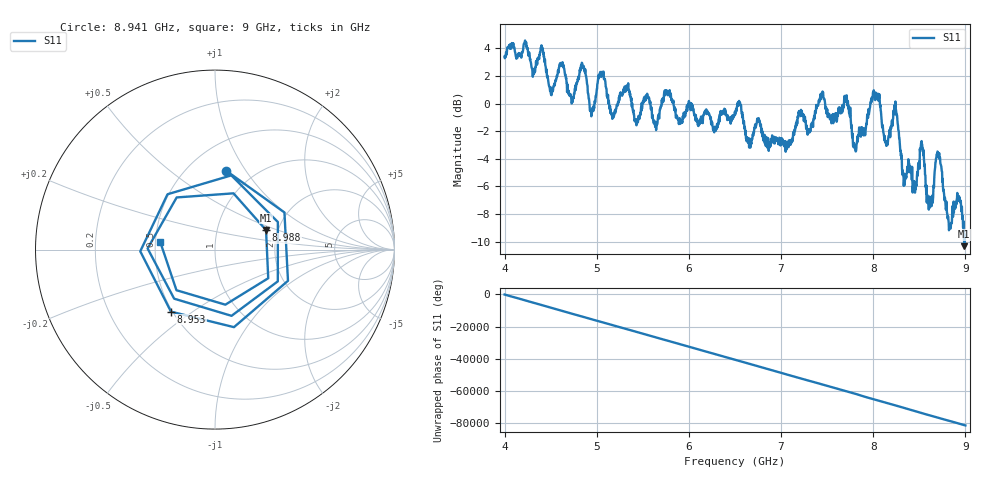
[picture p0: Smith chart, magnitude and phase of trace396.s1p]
! Created with skrf 1.8.0 (http://scikit-rf.org).
# Hz S RI R 50.0
!freq ReS11 ImS11
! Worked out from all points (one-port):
!   1601 points, 4 GHz to 9 GHz, reference 50 ohm
!   lowest |S11| = -10.3 dB at 8.988 GHz (marker M1), VSWR 1.88, Z = 86.6 + j20.7 ohm
!   |S11| at or under -10 dB: 8.986121 GHz to 8.989129 GHz (3.008 MHz wide, 0.0335 % of centre); 8.993498 GHz to end of sweep
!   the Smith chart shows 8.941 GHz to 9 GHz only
!   S11 on the Smith chart (normalised r, x): 8.941 GHz: 0.75, +0.82; 8.953 GHz: 0.49, -0.41; 8.988 GHz: 1.73, +0.41; 9 GHz: 0.53, +0.05
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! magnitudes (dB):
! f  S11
! 4 GHz  3.4
! 4.403 GHz  4.0
! 4.509 GHz  0.6
! 4.625 GHz  2.9
! 4.728 GHz  0.0
! 4.853 GHz  2.7
! 4.947 GHz  -0.6
! 5.05 GHz  2.2
! 5.162 GHz  -0.8
! 5.25 GHz  0.5
! 5.875 GHz  -1.1
! 6.5 GHz  -0.6
! 7.125 GHz  -2.7
! 7.444 GHz  0.7
! 7.75 GHz  -0.3
! 7.803 GHz  -3.3
! 8.009 GHz  0.6
! 8.138 GHz  -2.8
! 8.241 GHz  0.1
! 8.375 GHz  -4.6
! 8.531 GHz  -3.0
! 8.625 GHz  -6.9
! 8.706 GHz  -3.6
! 8.828 GHz  -8.9
! 8.941 GHz  -7.0
! 8.953 GHz  -7.5
! 8.988 GHz  -10.3
! 9 GHz  -10.3
